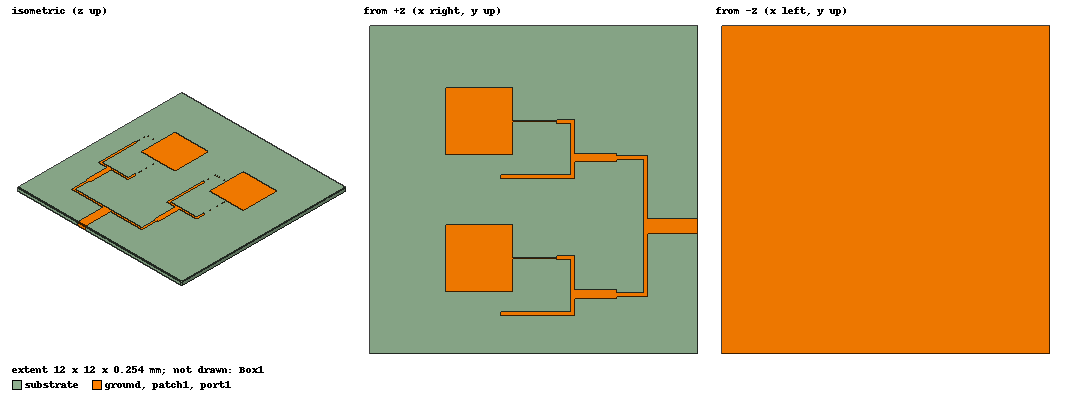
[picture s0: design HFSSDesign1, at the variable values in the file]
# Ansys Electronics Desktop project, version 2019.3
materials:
  vacuum: permittivity=1
  Rogers RO4003 (tm): permittivity=3.55 dielectric_loss_tangent=0.0027
  air: permittivity=1.0006 permeability=1.0000004

design HFSSDesign1 (HFSS, DrivenModal, model units mm)
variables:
  ls = 12mm
  ws = 12mm
  hs = 0.254mm
  lp = 2.465mm  # optimise 2mm..3mm
  wp = 2.465mm
  w1 = 0.0124mm
  w2 = 0.0124mm
  v = 0.81mm
  w3 = 0.143mm
  L = 0.63622765mm
  w4 = 0.316mm  # optimise 0.9mm..1.2mm
  Lbox = 14mm
  Wbpx = 14mm
  Hbox = 6mm
  Wbox = 16mm
  v1 = 0.81mm
  m = 0mm
  off = -0.1mm  # optimise -0.03mm..0mm
  L70 = 1.53mm
  w100 = 0.143mm
  l100 = 1mm
  y_space = 5mm
  T_width = 2*(y_space/2+w100/2)
  w_line = 0.5mm
  l_builter = ls/2-(lp/2+L +l70+l100+w100+1.62e-3-x_space)
  w_builter = 0.568mm  # optimise 0.8947185mm..2.6841555mm
  x_space = 2mm
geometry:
  ground = rectangle(corner=(-ls/2, -ws/2, 0mm), x_size=ls, y_size=ws)
  substrate [Rogers RO4003 (tm)] = box(corner=(-ls/2, -ws/2, 0mm), size=(ls, ws, hs))
  Box1 [air] = box(corner=(-Lbox/2, -Wbox/2, -Hbox/2), size=(Lbox, Wbox, Hbox))
  coordinate_system RelativeCS1 = origin=(-x_space, -y_space/2, 0mm) x=(1mm, 0mm, 0mm) y=(0mm, 1mm, 0mm)
  port1 = rectangle(corner=((L+(2*v)+lp/2)+L70+l100+w100+l_builter, -((wp/2)+(v/2)+(w4/2)-(v/2)+m)+off+w4/2-w100/2+T_width/2-w_builter/2, hs), y_size=w_builter, z_size=-hs) in RelativeCS1
  patch1 = rectangle(corner=(-lp/2, -wp/2, hs), x_size=lp, y_size=wp) in RelativeCS1
  transformer23 = rectangle(corner=(lp/2, -w1/2, hs), x_size=2*v, y_size=w1) in RelativeCS1
  transformer24 = rectangle(corner=(-w2/2, -wp/2, hs), x_size=w2, y_size=-(v)) in RelativeCS1
  transformer25 = rectangle(corner=(-w2/2, (-wp/2)-(v), hs), x_size=v1, y_size=w2) in RelativeCS1
  T4 = rectangle(corner=(lp/2+(2*v), -w3/2, hs), x_size=L, y_size=w3) in RelativeCS1
  T5 = rectangle(corner=(v1-(w2/2), (-wp/2)-(v)-(w3/2)+(w2/2), hs), x_size=(lp/2)+(2*v)+L-(v1-w2/2), y_size=w3) in RelativeCS1
  T6 = rectangle(corner=((lp/2)+(L)+(2*v), w3/2, hs), x_size=-w3, y_size=-((wp/2)+(v)+w3-(w2/2))) in RelativeCS1
  feed1 = rectangle(corner=((L+(2*v)+lp/2), -((wp/2)+(v/2)+(w4/2)-(v/2)+m)+off, hs), x_size=L70, y_size=w4) in RelativeCS1
  patch1.unite(transformer23, transformer24, transformer25, T4, T5, T6, feed1)
  coordinate_system RelativeCS2 = origin=(-x_space, y_space/2, 0mm) x=(1mm, 0mm, 0mm) y=(0mm, 1mm, 0mm)
  patch2 = rectangle(corner=(-lp/2, -wp/2, hs), x_size=lp, y_size=wp) in RelativeCS2
  transformer26 = rectangle(corner=(lp/2, -w1/2, hs), x_size=2*v, y_size=w1) in RelativeCS2
  transformer27 = rectangle(corner=(-w2/2, -wp/2, hs), x_size=w2, y_size=-(v)) in RelativeCS2
  transformer28 = rectangle(corner=(-w2/2, (-wp/2)-(v), hs), x_size=v1, y_size=w2) in RelativeCS2
  T7 = rectangle(corner=(lp/2+(2*v), -w3/2, hs), x_size=L, y_size=w3) in RelativeCS2
  T8 = rectangle(corner=(v1-(w2/2), (-wp/2)-(v)-(w3/2)+(w2/2), hs), x_size=(lp/2)+(2*v)+L-(v1-w2/2), y_size=w3) in RelativeCS2
  T9 = rectangle(corner=((lp/2)+(L)+(2*v), w3/2, hs), x_size=-w3, y_size=-((wp/2)+(v)+w3-(w2/2))) in RelativeCS2
  feed2 = rectangle(corner=((L+(2*v)+lp/2), -((wp/2)+(v/2)+(w4/2)-(v/2)+m)+off, hs), x_size=L70, y_size=w4) in RelativeCS2
  patch2.unite(transformer26, transformer27, transformer28, T7, T8, T9, feed2)
  feedline_1 = rectangle(corner=((L+(2*v)+lp/2)+L70, -((wp/2)+(v/2)+(w4/2)-(v/2)+m)+off+w4/2-w100/2, hs), x_size=l100, y_size=w100) in RelativeCS1
  feedline_2 = rectangle(corner=((L+(2*v)+lp/2)+L70, -((wp/2)+(v/2)+(w4/2)-(v/2)+m)+off+w4/2-w100/2, hs), x_size=l100, y_size=w100) in RelativeCS2
  T_Sec1 = rectangle(corner=((L+(2*v)+lp/2)+L70+l100, -((wp/2)+(v/2)+(w4/2)-(v/2)+m)+off+w4/2-w100/2, hs), x_size=w100, y_size=T_width/2) in RelativeCS1
  T_Sec2 = rectangle(corner=((L+(2*v)+lp/2)+L70+l100, -((wp/2)+(v/2)+(w4/2)-(v/2)+m)+off+w4/2+y_space/2, hs), x_size=w100, y_size=T_width/2) in RelativeCS1
  T_Sec1.unite(feedline_1, T_Sec2, feedline_2)
  line_builter = rectangle(corner=((L+(2*v)+lp/2)+L70+l100+w100, -((wp/2)+(v/2)+(w4/2)-(v/2)+m)+off+w4/2-w100/2+T_width/2-w_builter/2, hs), x_size=l_builter, y_size=w_builter) in RelativeCS1
  T_Sec1.unite(line_builter)
  patch1.unite(patch2, T_Sec1)
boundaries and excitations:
  PerfE1: Perfect E Objects=ground
  Rad1: Radiation Objects=Box1
  PerfE2: Perfect E Objects=patch1
  1: Lumped Port Objects=port1 Modes{Mode1{IntLine{middle of port1.edge(3 of 4) -> middle of port1.edge(1 of 4)} CharImp=Zpi RenormImp=50ohm}} Impedance=50ohm
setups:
  Setup1: HfssDriven Frequency=30GHz MaxDeltaS=0.02 MaximumPasses=20 MinimumPasses=1 MinimumConvergedPasses=1 PercentRefinement=30 BasisOrder=1 PortAccuracy=2
    sweep Sweep: 20GHz to 40GHz, 401 points; Type=Discrete SaveFields
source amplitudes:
  1:1: 1W 0deg
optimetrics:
  OptimizationSetup1: Optimization disabled Optimizer="Quasi Newton" AnalysisStopOptions{StopForNumIteration MaxNumIteration=100 MinNumIteration=10} CostFuncNormType=L2 Acceptable_Cost=0 Noise=0.0001
    vary L: Min=0.352975mm Max=1.058925mm MinStep=0.001mm MaxStep=0.01mm MinFocus=0.352975mm MaxFocus=1.058925mm
    vary off: Min=-0.4mm Max=0.4mm MinStep=0.0001mm MaxStep=0.001mm MinFocus=-0.03mm MaxFocus=0mm start=0.37066029mm
    vary w3: Min=0.4mm Max=0.6mm MinStep=0.004mm MaxStep=0.0425mm MinFocus=0.4mm MaxFocus=0.6mm
    vary w4: Min=0.945mm Max=0.98mm MinStep=0.004mm MaxStep=0.1mm MinFocus=0.9mm MaxFocus=1.2mm start=0.955mm
    goal dB(AxialRatioValue) <= 3 weight 1 on Setup1 : LastAdaptive at Theta 0deg, Phi 0deg, Freq 30GHz
    goal dB(S(1,1)) <= -15 weight 1 on Setup1 : LastAdaptive at Freq 30GHz
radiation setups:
  Infinite Sphere1: Infinite Sphere Theta=-180deg..180deg step 2deg Phi=0deg..360deg step 2deg
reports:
  S Parameter Plot 1: dB(S(1,1)) vs Freq on Setup1 : Sweep [lp=all]; markers m1 at 30GHz, MX1 at x=2.5912921e+10
  Gain Plot 1: dB(GainTotal) vs Theta on Setup1 : LastAdaptive, Infinite Sphere1 [Phi=0deg Freq=30GHz]; markers m1 at 0deg
  Axial Ratio Plot 1: dB(AxialRatioValue) vs Theta on Setup1 : LastAdaptive, Infinite Sphere1 [Phi=0deg Freq=30GHz]; markers m1 at 0deg
  Z Parameter Plot 1: dB20(Z(1,1)) vs Freq on Setup1 : Sweep; markers m1 at 30GHz
  Gain Plot 2: dB(GainTotal) vs Phi, Theta on Setup1 : LastAdaptive, Infinite Sphere1 [Freq=30GHz]
  Gain Plot 3: GainTotal vs Phi, Theta on Setup1 : LastAdaptive, Infinite Sphere1 [Freq=30GHz w4=0.946462mm off=-0.39mm]
